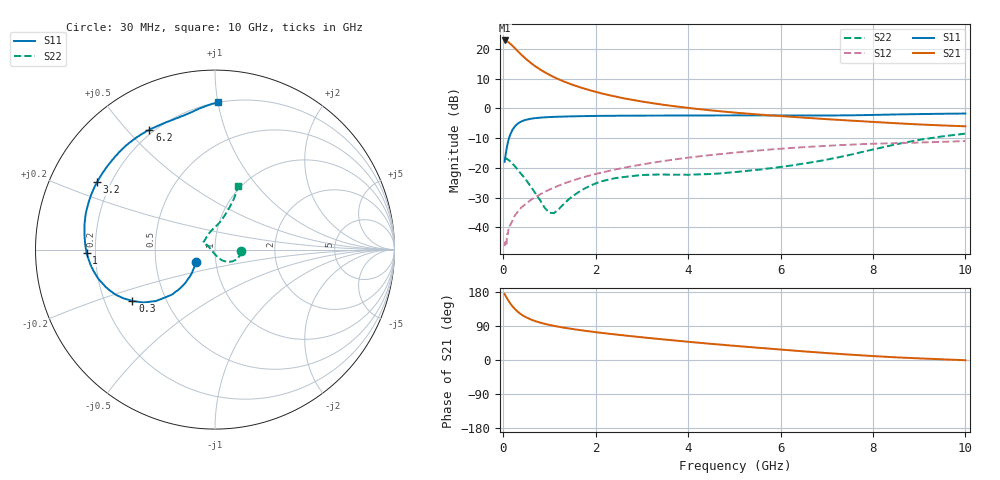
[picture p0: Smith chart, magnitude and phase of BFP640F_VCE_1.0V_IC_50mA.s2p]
! Infineon Technologies  Discrete & RF Semiconductors
! BFP640F
! VCE =  1.0 V,  IC =  50 mA
! Common Emitter S-Parameters:  Apr 2013
# GHz  S  MA  R  50
!  f  S11  S21  S12  S22
! GHz  MAG  ANG  MAG  ANG  MAG  ANG  MAG  ANG
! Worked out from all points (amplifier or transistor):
!   99 points, 30 MHz to 10 GHz, reference 50 ohm
!   highest |S21| = 22.9 dB at 30 MHz (marker M1)
!   |S21| within 3 dB of that: start of sweep to 277.6 MHz
!   unconditionally stable (mu >= 1): start of sweep to end of sweep
!   at 350 MHz: K = 1.96, MAG = 20.8 dB, |S12| = -34.0 dB
!   at 3.5 GHz: K = 1.55, MAG = 5.0 dB, |S12| = -17.6 dB
!   at 10 GHz: K = 1.33, MAG = -0.9 dB, |S12| = -11.0 dB
!   S11 on the Smith chart (normalised r, x): 30 MHz: 0.80, -0.11; 300 MHz: 0.32, -0.26; 1 GHz: 0.17, -0.01; 3.2 GHz: 0.15, +0.26; 6.2 GHz: 0.18, +0.58; 10 GHz: 0.20, +1.00
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0.03  0.1257 -146.4  13.92 174.0  0.0048 28.7  0.1442 -3.7
0.05  0.164 -137.5  13.82 169.7  0.0053 31.2  0.1444 -8.8
0.09  0.2441 -131.7  13.35 161.2  0.0078 49.4  0.1397 -16.3
0.15  0.3588 -134.5  12.3 149.8  0.0108 55.9  0.1287 -26.5
0.2  0.4355 -138.9  11.34 141.7  0.0129 59.0  0.1174 -33.9
0.25  0.4957 -143.5  10.36 134.8  0.0157 59.7  0.1067 -39.5
0.3  0.5418 -148.1  9.461 128.9  0.0176 59.9  0.0956 -44.9
0.35  0.5779 -152.0  8.647 123.8  0.0199 61.4  0.0853 -49.7
0.45  0.6278 -158.6  7.279 115.6  0.0234 62.9  0.0693 -57.4
0.6  0.6703 -166.0  5.804 106.8  0.0289 63.7  0.048 -68.6
0.8  0.6991 -173.2  4.511 98.6  0.0358 65.3  0.0283 -87.8
1  0.7154 -178.4  3.675 92.6  0.043 65.8  0.0175 -129.1
1.3  0.7281 175.3  2.863 85.6  0.0538 66.3  0.0241 172.7
1.7  0.7411 168.7  2.219 78.3  0.0682 65.3  0.0422 152.1
2.3  0.7502 160.8  1.664 69.1  0.0892 62.9  0.0638 151.0
3.2  0.7567 150.2  1.234 57.5  0.1208 58.1  0.0766 149.5
3.4  0.7577 147.9  1.171 55.1  0.1277 56.9  0.0772 148.8
5.1  0.7624 129.7  0.838 36.4  0.1828 45.2  0.0859 121.5
6.2  0.7605 118.7  0.726 25.7  0.2149 37.1  0.1085 100.1
6.7  0.7594 113.1  0.683 21.0  0.2274 33.4  0.1248 90.5
8.5  0.7913 96.2  0.563 7.0  0.2604 20.8  0.249 71.0
10  0.8198 88.7  0.5 -0.6  0.2817 13.2  0.376 70.5
